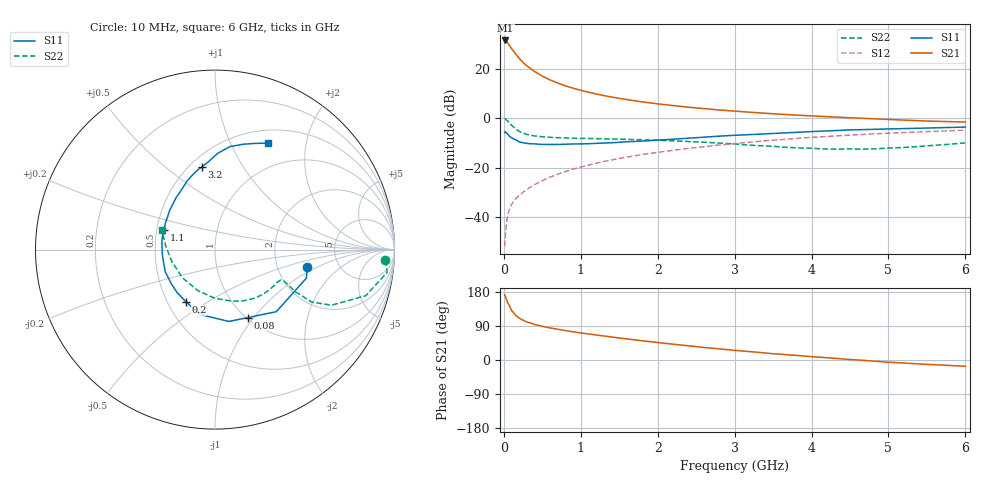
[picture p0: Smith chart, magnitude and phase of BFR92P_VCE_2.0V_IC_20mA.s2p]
! Infineon Technologies  Discrete & RF Semiconductors
! BFR92P
! VCE =  2.0 V,  IC =  20 mA
! Common Emitter S-Parameters:  Apr 2014
# GHz  S  MA  R  50
!  f  S11  S21  S12  S22
! GHz  MAG  ANG  MAG  ANG  MAG  ANG  MAG  ANG
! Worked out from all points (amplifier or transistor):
!   77 points, 10 MHz to 6 GHz, reference 50 ohm
!   highest |S21| = 31.4 dB at 20 MHz (marker M1)
!   |S21| within 3 dB of that: start of sweep to 94.65 MHz
!   unconditionally stable (mu >= 1): 418.9 MHz to 2.534 GHz
!   at 130 MHz: K = 0.60, MSG = 30.2 dB, |S12| = -33.5 dB
!   at 2.2 GHz: K = 1.02, MAG = 8.1 dB, |S12| = -13.0 dB
!   at 6 GHz: K = 0.91, MSG = 1.6 dB, |S12| = -4.8 dB
!   S11 on the Smith chart (normalised r, x): 10 MHz: 2.95, -0.81; 80 MHz: 1.02, -0.93; 200 MHz: 0.62, -0.40; 1.1 GHz: 0.55, +0.13; 3.2 GHz: 0.57, +0.67; 6 GHz: 0.66, +1.40
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0.01  0.5238 -10.9  37.17 172.4  0.0026 89.9  0.9518 -3.6
0.02  0.5332 -17.4  37.19 167.5  0.0042 89.0  0.9677 -7.5
0.05  0.4861 -45.4  33.58 150.8  0.0114 73.3  0.8787 -17.0
0.08  0.4206 -64.2  28.38 140.0  0.0154 68.9  0.7812 -21.7
0.1  0.4077 -79.0  25.66 130.5  0.0181 67.1  0.7197 -25.5
0.15  0.3713 -102.4  20.18 118.7  0.0231 65.1  0.6123 -28.5
0.2  0.3326 -119.2  16.08 110.3  0.0275 65.1  0.5413 -27.9
0.25  0.3191 -131.4  13.35 105.0  0.032 67.0  0.5013 -27.7
0.3  0.3094 -141.6  11.37 100.2  0.0364 67.8  0.4701 -26.4
0.4  0.3034 -155.8  8.743 93.8  0.0455 69.1  0.4381 -25.2
0.5  0.2955 -165.6  7.076 88.9  0.0548 71.1  0.4216 -24.5
0.6  0.2945 -173.9  5.942 84.7  0.0644 72.0  0.4109 -24.4
0.7  0.2949 179.3  5.131 81.1  0.0737 72.0  0.4044 -24.7
0.8  0.2981 173.2  4.512 77.6  0.0834 71.8  0.399 -25.7
1.1  0.3048 158.5  3.344 68.7  0.1129 70.6  0.3897 -29.6
1.5  0.3255 142.8  2.515 58.1  0.1536 67.7  0.3774 -36.4
2.1  0.3686 123.7  1.873 44.0  0.2144 62.0  0.3531 -48.7
3.1  0.4587 101.0  1.356 23.8  0.3175 50.6  0.2934 -75.4
3.2  0.4662 99.2  1.322 22.1  0.3278 49.3  0.2861 -78.9
4.1  0.5446 87.0  1.093 7.4  0.4186 37.9  0.242 -118.0
5.1  0.6116 74.0  0.929 -6.9  0.5048 24.1  0.2524 -169.1
6  0.6621 63.6  0.838 -16.5  0.5734 11.8  0.3177 159.4
